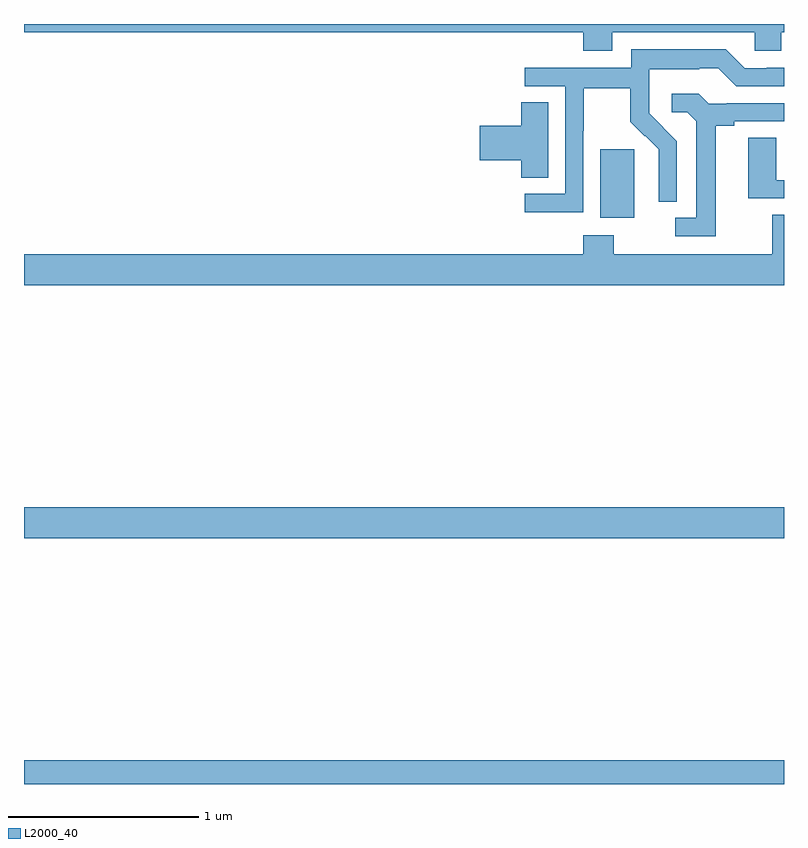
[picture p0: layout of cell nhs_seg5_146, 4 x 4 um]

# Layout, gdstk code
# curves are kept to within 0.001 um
import gdstk
lib = gdstk.Library(unit=1e-6, precision=1e-09)
def R(c, l, rs):  # rectangles x0, y0, x1, y1
    for r in rs: c.add(gdstk.rectangle(r[:2], r[2:], *l))
def P(c, l, *ps):  # polygons
    for p in ps: c.add(gdstk.Polygon(p, *l))
L2000_40 = (2000, 40)

nhs_seg5_146 = lib.new_cell('nhs_seg5_146')
R(nhs_seg5_146, L2000_40, [(119,856.799,123,856.924), (119,858.092,123,858.256), (122.033,859.778,122.212,860.139)])
P(nhs_seg5_146, L2000_40, [(122.095,860.756),(122.847,860.756),(122.847,860.658),(122.985,860.658),(122.985,860.756),(123,860.756),(123,860.799),(119,860.799),(119,860.756),(121.943,860.756),(121.943,860.657),(122.095,860.657)],
  [(121.944,860.236),(121.947,860.236),(121.947,860.46),(122.191,860.46),(122.191,860.285),(122.268,860.208),(122.271,860.211),(122.342,860.141),(122.342,860.018),(122.34,860.018),(122.34,859.864),(122.436,859.864),(122.436,860.182),(122.29,860.33),(122.29,860.427),(122.292,860.427),(122.292,860.561),(122.555,860.561),(122.555,860.565),(122.655,860.565),(122.748,860.472),(123,860.472),(123,860.568),(122.909,860.568),(122.909,860.565),(122.793,860.565),(122.693,860.665),(122.196,860.665),(122.196,860.568),(121.635,860.568),(121.635,860.472),(121.848,860.472),(121.848,859.905),(121.635,859.905),(121.635,859.807),(121.944,859.807)],
  [(122.641,860.264),(122.737,860.264),(122.737,860.286),(123,860.286),(123,860.382),(122.698,860.382),(122.698,860.379),(122.604,860.379),(122.552,860.431),(122.409,860.431),(122.409,860.334),(122.49,860.334),(122.537,860.287),(122.537,859.779),(122.427,859.779),(122.427,859.683),(122.641,859.683)],
  [(121.759,860.387),(121.616,860.387),(121.616,860.264),(121.398,860.264),(121.398,860.081),(121.616,860.081),(121.616,859.99),(121.759,859.99)],
  [(123,859.977),(122.958,859.977),(122.958,860.201),(122.813,860.201),(122.813,859.881),(123,859.881)],
  [(123,859.796),(122.939,859.796),(122.939,859.588),(122.103,859.588),(122.103,859.687),(121.943,859.687),(121.943,859.588),(119,859.588),(119,859.424),(123,859.424)])

lib.write_gds('nhs_seg5_146.gds')
